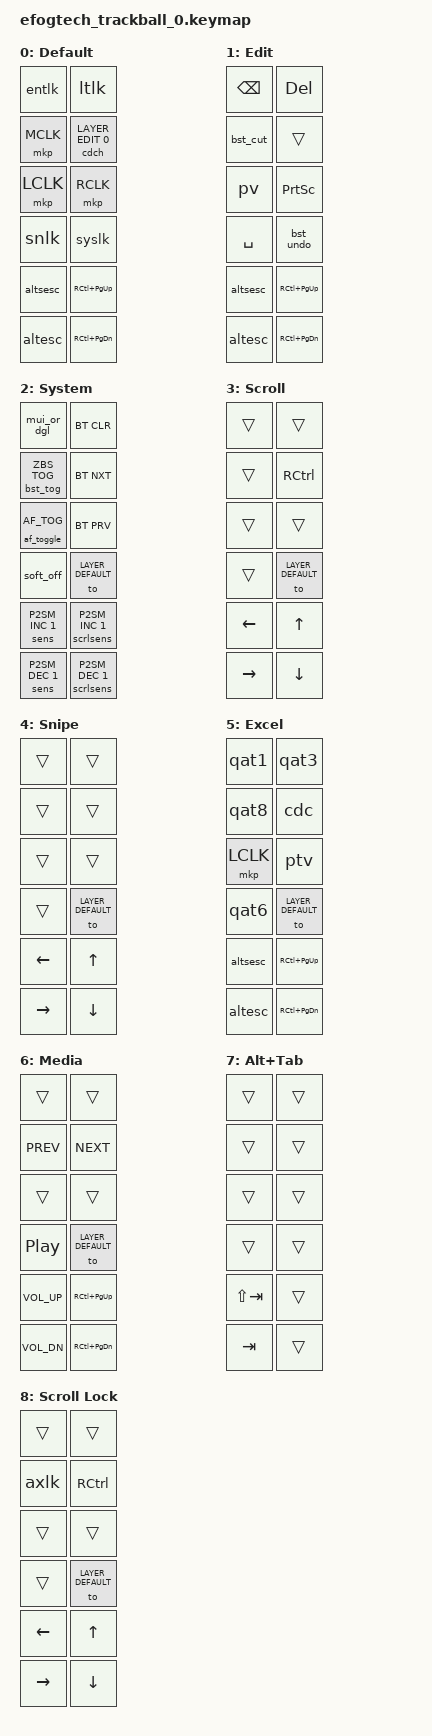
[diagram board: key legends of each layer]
#include <behaviors.dtsi>
#include <dt-bindings/zmk/bt.h>
#include <dt-bindings/zmk/keys.h>
#include <dt-bindings/zmk/pointing.h>
#include <dt-bindings/zmk/outputs.h>
#include <dt-bindings/zmk/adaptive_feedback.h>
#include <dt-bindings/zmk/bistable_behavior.h>
#include <dt-bindings/zmk/p2sm.h>

#ifndef LAYER_DEFAULT
#define LAYER_DEFAULT      0
#define LAYER_EDIT         1
#define LAYER_SYSTEM       2
#define LAYER_SCROLL       3
#define LAYER_SNIPE        4
#define LAYER_EXCEL        5
#define LAYER_MEDIA        6
#define LAYER_ALTTAB       7
#define LAYER_SCROLL_LOCK  8
#endif

#include "clipboard_layouts.dtsi"
#include "edit_extras.dtsi"
#include "scroll_lock.dtsi"
#include "scaling.dtsi"
#include "combos.dtsi"

/ {
	keymap {
		compatible = "zmk,keymap";

		// pos0 -> Media hold / Enter tap / Undo double-tap,
		// pos1 -> Scroll lock, pos2 -> middle click, hold pos3 -> Edit,
		// pos6 -> Snipe hold / Close tap / reopen double-tap,
		// pos7 -> Back tap / System hold / Reload double-tap.
		// Combos: pos0+1 Excel tog, pos1+3 Alt+Tab hold, pos6+7 Snipe tog.
		default_layer {
			display-name = "Default";
			DECLARE_ENCODERS;
			bindings = <
			    &entlk                    &ltlk
			    &mkp MCLK                 &cdch LAYER_EDIT 0
			    &mkp LCLK                 &mkp RCLK
			    &snlk                     &syslk

			    // left = Alt+Shift+Esc / Alt+Esc (timed macros); right = browser tabs
			    &altsesc                  &kp RC(PG_UP)
			    &altesc                   &kp RC(PG_DN)
		    >;
		};

		// Edit: hold the copy/paste button (pos3). pos3 itself must be &trans
		// so the hold key stays usable — Delete lives on pos1 next to Bksp.
		// Space is on pos6 (reopen moved to Close 2× on Default).
		edit_layer {
			display-name = "Edit";
			DECLARE_ENCODERS;
			bindings = <
			    &kp BSPC  &kp DEL
			    &bst_cut       &trans
			    &pv            &kp PSCRN
			    &kp SPACE      &bst_undo

			    &altsesc &kp RC(PG_UP)
			    &altesc  &kp RC(PG_DN)
		    >;
		};

		system_layer {
			display-name = "System";
			DECLARE_ENCODERS;
			bindings = <
			    &mui_or_dgl          &bt BT_CLR
			    &bst_tog ZBS_TOG     &bt BT_NXT
			    &af_toggle AF_TOG    &bt BT_PRV
			    &soft_off            &to LAYER_DEFAULT

			    &sens P2SM_INC 1     &scrlsens P2SM_INC 1
			    &sens P2SM_DEC 1     &scrlsens P2SM_DEC 1
		    >;
		};

		// Momentary scroll (hold &ltlk): free X+Y — no axis clamper / lock.
		scroll_layer {
			display-name = "Scroll";
			DECLARE_ENCODERS;
			bindings = <
			    // pos1 stays &trans so default &ltlk (incl. 2× scroll lock/unlock) flows through
			    &trans     &trans
			    &trans     &kp RCTRL
			    &trans     &trans
			    &trans     &to LAYER_DEFAULT

			    &kp LEFT   &kp UP
			    &kp RIGHT  &kp DOWN
		    >;
		};

		snipe_layer {
			display-name = "Snipe";
			DECLARE_ENCODERS;
			bindings = <
			    &trans     &trans
			    &trans     &trans
			    &trans     &trans
			    // pos6 stays &trans so default &snlk (hold snipe / 2× reopen) flows through
			    &trans     &to LAYER_DEFAULT

			    &kp LEFT   &kp UP
			    &kp RIGHT  &kp DOWN
		    >;
		};

		excel_layer {
			display-name = "Excel";
			DECLARE_ENCODERS;
			bindings = <
			    &qat1        &qat3
			    &qat8        &cdc
			    &mkp LCLK    &ptv
			    &qat6        &to LAYER_DEFAULT

			    &altsesc &kp RC(PG_UP)
			    &altesc  &kp RC(PG_DN)
		    >;
		};

		media_layer {
			display-name = "Media";
			DECLARE_ENCODERS;
			bindings = <
			    &trans          &trans
			    &kp C_PREV      &kp C_NEXT
			    &trans          &trans
			    &kp C_PP        &to LAYER_DEFAULT

			    &kp C_VOL_UP    &kp RC(PG_UP)
			    &kp C_VOL_DN    &kp RC(PG_DN)
		    >;
		};

		// Momentary while Esc+Copy combo is held (&alt_tab_hold). Alt is held
		// by the macro; left encoder only → Tab / Shift+Tab. Right encoder
		// stays browser tabs via &trans into the base layer.
		// Left: CW = Tab (next), CCW = Shift+Tab (prev).
		alttab_layer {
			display-name = "Alt+Tab";
			DECLARE_ENCODERS;
			bindings = <
			    &trans     &trans
			    &trans     &trans
			    &trans     &trans
			    &trans     &trans

			    &kp LS(TAB) &trans
			    &kp TAB     &trans
		    >;
		};

		// Sticky scroll (2× &ltlk): axis clamper + hard axis lock (&axlk).
		// Declared last so LAYER_SCROLL_LOCK == 8 matches keymap order.
		scroll_lock_layer {
			display-name = "Scroll Lock";
			DECLARE_ENCODERS;
			bindings = <
			    &trans     &trans
			    &axlk      &kp RCTRL
			    &trans     &trans
			    &trans     &to LAYER_DEFAULT

			    &kp LEFT   &kp UP
			    &kp RIGHT  &kp DOWN
		    >;
		};
	};

	// Layer overrides replace (do not append) this base chain — every override
	// must re-list &zip_bistable_twist_scaler or mixer twist goes unscaled.
	trackball {
		input-processors = <&zip_bistable_twist_scaler>,
						   <&zip_pointer_accel>, <&zip_scroll_accel>, <&zip_rotate_pointer>,
		                   <&esb_ip>, <&zip_ble_report_rate_limit>;

		// Hold scroll: free axes (no clamper / axis-lock).
		// Twist scaler first (native WHEEL only); then XY dragscroll scaler.
		scroll {
			layers = <LAYER_SCROLL>;
			input-processors = <&zip_bistable_twist_scaler>,
							   <&zip_bistable_scroll_xy_scaler>,
							   <&zip_xy_to_scroll_mapper>, <&zip_scroll_transform INPUT_TRANSFORM_Y_INVERT>,
							   <&zip_dragscroll_accel>, <&zip_rotate_scroll>,
							   <&esb_ip>, <&zip_ble_report_rate_limit>;
		};

		// Double-tap scroll lock: clamp to dominant axis + hard Y/X lock.
		scroll_lock {
			layers = <LAYER_SCROLL_LOCK>;
			input-processors = <&zip_bistable_twist_scaler>,
							   <&zip_bistable_scroll_xy_scaler>, <&zip_axis_clamper>,
							   <&zip_axis_lock>,
							   <&zip_xy_to_scroll_mapper>, <&zip_scroll_transform INPUT_TRANSFORM_Y_INVERT>,
							   <&zip_dragscroll_accel>, <&zip_rotate_scroll>,
							   <&esb_ip>, <&zip_ble_report_rate_limit>;
		};

		// Snipe: slow XY pointer; twist keeps base 1/15 + scroll accel.
		snipe {
			layers = <LAYER_SNIPE>;
			input-processors = <&zip_bistable_twist_scaler>,
							   <&zip_bistable_snipe_scaler>,
							   <&zip_scroll_accel>, <&zip_rotate_pointer>,
							   <&esb_ip>, <&zip_ble_report_rate_limit>;
		};
	};
};

&skmp { status = "disabled"; };
